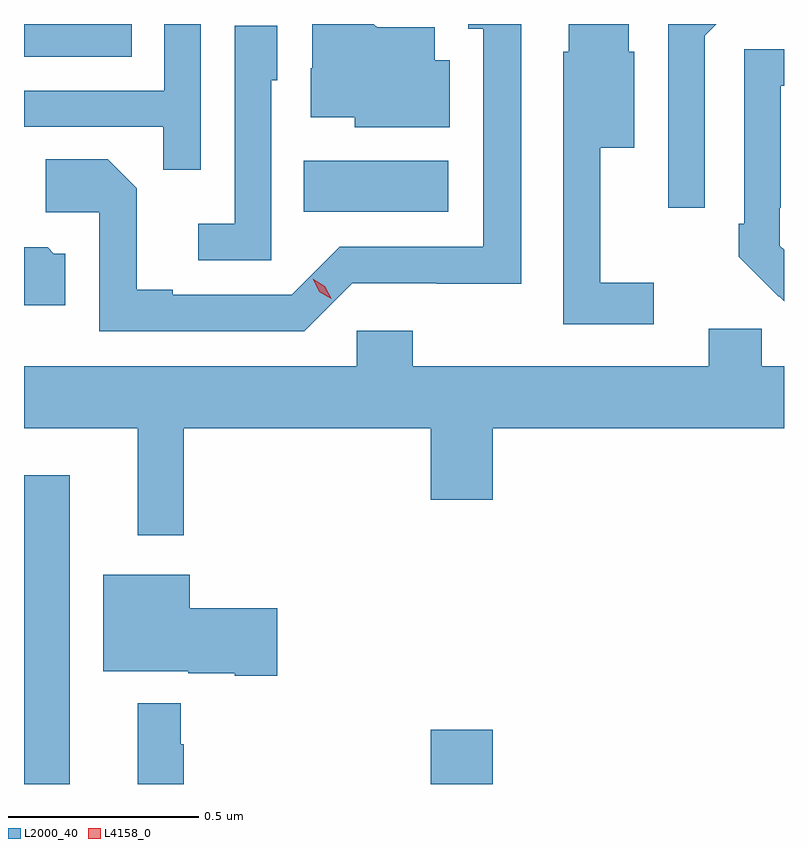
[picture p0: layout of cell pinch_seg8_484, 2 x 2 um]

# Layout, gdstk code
import gdstk
lib = gdstk.Library(unit=1e-6, precision=1e-09)
def R(c, l, rs):  # rectangles x0, y0, x1, y1
    for r in rs: c.add(gdstk.rectangle(r[:2], r[2:], *l))
def P(c, l, *ps):  # polygons
    for p in ps: c.add(gdstk.Polygon(p, *l))
L2000_40 = (2000, 40)
L4158_0 = (4158, 0)

pinch_seg8_484 = lib.new_cell('pinch_seg8_484')
R(pinch_seg8_484, L2000_40, [(187.914,1124.888,188.035,1125.7), (188.984,1124.888,189.148,1125.031), (188.65,1126.394,189.031,1126.528), (187.914,1126.802,188.198,1126.888)])
P(pinch_seg8_484, L2000_40, [(189.034,1126.792),(188.995,1126.792),(188.995,1126.879),(188.843,1126.879),(188.834,1126.888),(188.673,1126.888),(188.673,1126.772),(188.669,1126.772),(188.669,1126.643),(188.784,1126.643),(188.784,1126.616),(189.034,1126.616)],
  [(188.379,1126.888),(188.283,1126.888),(188.283,1126.713),(187.914,1126.713),(187.914,1126.617),(188.281,1126.617),(188.281,1126.504),(188.379,1126.504)],
  [(189.705,1126.857),(189.736,1126.888),(189.609,1126.888),(189.609,1126.404),(189.705,1126.404)],
  [(189.571,1126.207),(189.431,1126.207),(189.431,1126.562),(189.52,1126.562),(189.52,1126.815),(189.505,1126.815),(189.505,1126.888),(189.347,1126.888),(189.347,1126.815),(189.333,1126.815),(189.333,1126.098),(189.571,1126.098)],
  [(188.778,1126.206),(189,1126.206),(189,1126.205),(189.223,1126.205),(189.223,1126.888),(189.083,1126.888),(189.083,1126.875),(189.122,1126.875),(189.122,1126.302),(188.745,1126.302),(188.619,1126.176),(188.305,1126.176),(188.305,1126.189),(188.211,1126.189),(188.211,1126.456),(188.135,1126.532),(187.971,1126.532),(187.971,1126.392),(188.112,1126.392),(188.112,1126.08),(188.652,1126.08)],
  [(188.565,1126.74),(188.58,1126.74),(188.58,1126.883),(188.469,1126.883),(188.469,1126.363),(188.373,1126.363),(188.373,1126.266),(188.565,1126.266)],
  [(189.914,1126.294),(189.903,1126.305),(189.903,1126.405),(189.906,1126.405),(189.906,1126.725),(189.914,1126.725),(189.914,1126.821),(189.81,1126.821),(189.81,1126.363),(189.795,1126.363),(189.795,1126.275),(189.9,1126.17),(189.901,1126.171),(189.914,1126.158)],
  [(188.023,1126.284),(187.992,1126.284),(187.976,1126.3),(187.914,1126.3),(187.914,1126.148),(188.023,1126.148)],
  [(189.716,1126.086),(189.716,1125.988),(188.937,1125.988),(188.937,1126.081),(188.79,1126.081),(188.79,1125.988),(187.914,1125.988),(187.914,1125.824),(188.213,1125.824),(188.213,1125.543),(188.335,1125.543),(188.335,1125.824),(188.984,1125.824),(188.984,1125.636),(189.148,1125.636),(189.148,1125.824),(189.914,1125.824),(189.914,1125.988),(189.855,1125.988),(189.855,1126.086)],
  [(188.581,1125.351),(188.35,1125.351),(188.35,1125.439),(188.123,1125.439),(188.123,1125.185),(188.346,1125.185),(188.346,1125.179),(188.468,1125.179),(188.468,1125.173),(188.581,1125.173)],
  [(188.335,1124.993),(188.327,1124.993),(188.327,1125.1),(188.213,1125.1),(188.213,1124.888),(188.335,1124.888)])
P(pinch_seg8_484, L4158_0, [(188.723,1126.165),(188.691,1126.184),(188.674,1126.217),(188.674,1126.217),(188.674,1126.217),(188.706,1126.198),(188.723,1126.166),(188.723,1126.165)])

lib.write_gds('pinch_seg8_484.gds')
